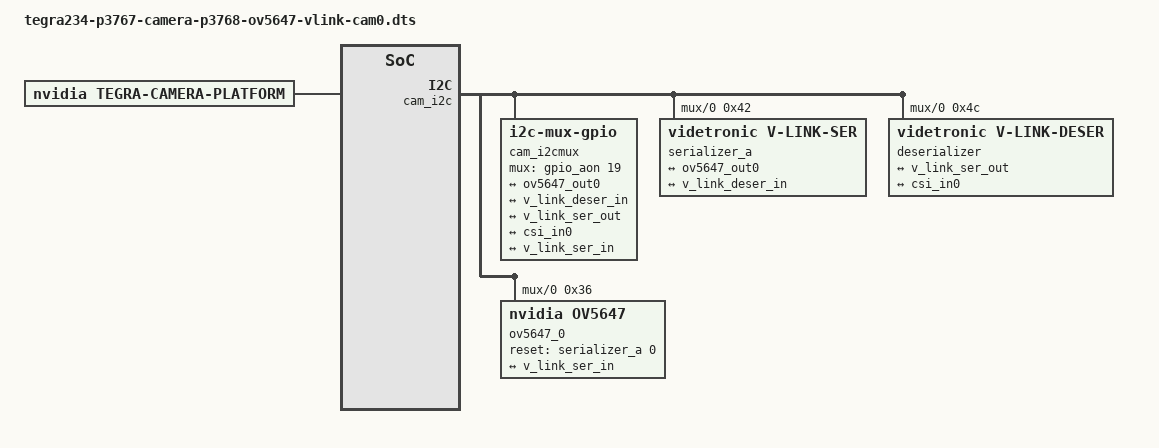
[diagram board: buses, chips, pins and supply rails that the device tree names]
/dts-v1/;
/plugin/;

/*
 * OV5647 (Raspberry Pi Camera v1.3) over Videtronic V-Link, Jetson Orin Nano /
 * Orin NX devkit (P3768 carrier), CAM0 connector.
 *
 * Camera graph, I2C mux, serializer and deserializer nodes are the same as in
 * tegra234-p3767-camera-p3768-imx219-vlink-cam0.dts. The OV5647 sensor node and
 * its mode timings come from https://github.com/akandr/ov5647-jetson
 * (dt/orin/tegra234-p3767-ov5647-overlay.dts, GPL-2.0, Copyright (C) 2026
 * Artur Andrzejczak), whose "nvidia,ov5647" driver this overlay binds to.
 *
 * Differences from the direct-attach overlay:
 * - reset-gpios is the serializer's MFP0 (the camera enable line on the ribbon)
 *   instead of a Jetson GPIO. The driver drives it high to power the module.
 * - The Jetson receives CSI from the deserializer, not from the sensor. With the
 *   serializer between sensor and NVCSI, NVIDIA's capture code does not apply
 *   the mode's lane_polarity / cil_settletime / clock rate to NVCSI (it would
 *   read string properties from the nvcsi channel node instead), so the Jetson
 *   side behaves as with the IMX219 V-Link overlay and link-freq is kept at its
 *   800 MHz. The sensor feeds the serializer at most 437.5 Mbps per lane.
 *
 * Untested on hardware.
 */

/ {
	overlay-name = "Camera OV5647 (CAM0) over v-link";
	jetson-header-name = "Jetson 24pin CSI Connector";
	compatible = "nvidia,p3768-0000+p3767-0000\0nvidia,p3768-0000+p3767-0001\0nvidia,p3768-0000+p3767-0003\0nvidia,p3768-0000+p3767-0004\0nvidia,p3768-0000+p3767-0005\0nvidia,p3768-0000+p3767-0000-super\0nvidia,p3768-0000+p3767-0001-super\0nvidia,p3768-0000+p3767-0003-super\0nvidia,p3768-0000+p3767-0004-super\0nvidia,p3768-0000+p3767-0005-super";
	
	fragment@0 {
		target-path = "/";
		__overlay__ {
			tegra-capture-vi {
				num-channels = <1>;
				ports {
					#address-cells = <1>;
					#size-cells = <0>;
					port@0 {
						reg = <0>;
						vi_in0: endpoint {
							port-index = <1>;
							bus-width = <2>;
							remote-endpoint = <&csi_out0>;
						};
					};
				};
			};
			tegra-camera-platform {
				compatible = "nvidia, tegra-camera-platform";
				/**
				* Physical settings to calculate max ISO BW
				*
				* num_csi_lanes = <>;
				* Total number of CSI lanes when all cameras are active
				*
				* max_lane_speed = <>;
				* Max lane speed in Kbit/s
				*
				* min_bits_per_pixel = <>;
				* Min bits per pixel
				*
				* vi_peak_byte_per_pixel = <>;
				* Max byte per pixel for the VI ISO case
				*
				* vi_bw_margin_pct = <>;
				* Vi bandwidth margin in percentage
				*
				* max_pixel_rate = <>;
				* Max pixel rate in Kpixel/s for the ISP ISO case
				* Set this to the highest pix_clk_hz out of all available modes.
				*
				* isp_peak_byte_per_pixel = <>;
				* Max byte per pixel for the ISP ISO case
				*
				* isp_bw_margin_pct = <>;
				* Isp bandwidth margin in percentage
				*/
				num_csi_lanes = <4>;
				max_lane_speed = <1500000>;
				min_bits_per_pixel = <10>;
				vi_peak_byte_per_pixel = <2>;
				vi_bw_margin_pct = <25>;
				max_pixel_rate = <7500000>;
				isp_peak_byte_per_pixel = <5>;
				isp_bw_margin_pct = <25>;
				
				modules {
					module0 {
						badge = "cam0_ov5647";
						position = "rear";
						orientation = "1";
						
						drivernode0 {
							pcl_id = "v4l2_sensor";
							sysfs-device-tree = "/sys/firmware/devicetree/base/bus@0/cam_i2cmux/i2c@0/ov5647_0@36";
						};
					};
				};
			};
			bus@0 {
				host1x@13e00000 {
					nvcsi@15a00000 {
						num-channels = <1>;
						#address-cells = <1>;
						#size-cells = <0>;
						channel@0 {
							reg = <0>;
							ports {
								#address-cells = <1>;
								#size-cells = <0>;
								port@0 {
									reg = <0>;
									csi_in0: endpoint@0 {
										port-index = <1>;
										bus-width = <2>;
										remote-endpoint = <&v_link_deser_out>;
									};
								};
								
								port@1 {
									reg = <1>;
									csi_out0: endpoint@1 {
										remote-endpoint = <&vi_in0>;
									};
								};
							};
						};
					};
				};
				cam_i2cmux {
					status = "okay";
					compatible = "i2c-mux-gpio";
					#address-cells = <1>;
					#size-cells = <0>;
					mux-gpios = <&gpio_aon 19 0>;//TEGRA234_AON_GPIO(CC, 3)
					i2c-parent = <&cam_i2c>;
					i2c@0 {
						status = "okay";
						reg = <0>;
						#address-cells = <1>;
						#size-cells = <0>;
						
						serializer_a: serializer@42 {
							status = "okay";
							compatible = "videtronic,v-link-ser";
							reg = <0x42>;
							gpio-controller;
							#gpio-cells = <2>;
							bus-width = <2>;
							
							ports {
								#address-cells = <1>;
								#size-cells = <0>;
								port@0 {
									reg = <0>;
									status = "okay";
									v_link_ser_in: endpoint@0 {
										status = "okay";
										port-index = <0>;
										bus-width = <2>;
										remote-endpoint = <&ov5647_out0>;
									};
								};
								port@1 {
									reg = <1>;
									status = "okay";
									v_link_ser_out: endpoint@1 {
										status = "okay";
										port-index = <1>;
										remote-endpoint = <&v_link_deser_in>;
									};
								};
							};
						};
						
						deserializer: deserializer@4c {
							status = "okay";
							compatible = "videtronic,v-link-deser";
							reg = <0x4c>;
							bus-width = <2>;
							link-freq = "800000000";
							ports {
								#address-cells = <1>;
								#size-cells = <0>;
								port@0 {
									reg = <0>;
									status = "okay";
									v_link_deser_in: endpoint@0 {
										status = "okay";
										port-index = <0>;
										remote-endpoint = <&v_link_ser_out>;
									};
								};
								port@1 {
									reg = <1>;
									status = "okay";
									v_link_deser_out: endpoint@1 {
										status = "okay";
										port-index = <1>;
										bus-width = <2>;
										remote-endpoint = <&csi_in0>;
									};
								};
							};
						};
						
						ov5647_0@36 {
							status = "okay";
							
							compatible = "nvidia,ov5647";
							/* I2C device address */
							reg = <0x36>;
							
							/* V4L2 device node location */
							devnode = "video0";
							
							/* Physical dimensions of sensor: 2592 x 1944 at 1.4 um */
							physical_w = "3.629";
							physical_h = "2.722";
							sensor_model = "ov5647";
							
							use_sensor_mode_id = "true";
							
							/* Module enable (ribbon PWDN line), driven high by the driver */
							reset-gpios = <&serializer_a 0 0>;
							
							mode0 { /* OV5647_MODE_2592x1944_15FPS */
								mclk_khz = "25000";
								num_lanes = "2";
								tegra_sinterface = "serial_b";
								lane_polarity = "6";
								phy_mode = "DPHY";
								discontinuous_clk = "yes";
								dpcm_enable = "false";
								cil_settletime = "0";
								active_w = "2592";
								active_h = "1944";
								mode_type = "bayer";
								pixel_phase = "bggr";
								csi_pixel_bit_depth = "10";
								readout_orientation = "0";
								line_length = "2844";
								inherent_gain = "1";
								mclk_multiplier = "3.50";
								pix_clk_hz = "87500000";
								gain_factor = "16";
								framerate_factor = "1000000";
								exposure_factor = "1000000";
								min_gain_val = "16";
								max_gain_val = "1023";
								step_gain_val = "1";
								default_gain = "16";
								min_hdr_ratio = "1";
								max_hdr_ratio = "1";
								min_framerate = "2000000";
								max_framerate = "15000000";
								step_framerate = "1";
								default_framerate = "15000000";
								min_exp_time = "131";
								max_exp_time = "500000";
								step_exp_time = "1";
								default_exp_time = "16666";
								embedded_metadata_height = "0";
							};
							mode1 { /* OV5647_MODE_1920x1080_30FPS */
								mclk_khz = "25000";
								num_lanes = "2";
								tegra_sinterface = "serial_b";
								lane_polarity = "6";
								phy_mode = "DPHY";
								discontinuous_clk = "yes";
								dpcm_enable = "false";
								cil_settletime = "0";
								active_w = "1920";
								active_h = "1080";
								mode_type = "bayer";
								pixel_phase = "bggr";
								csi_pixel_bit_depth = "10";
								readout_orientation = "0";
								line_length = "2416";
								inherent_gain = "1";
								mclk_multiplier = "3.50";
								pix_clk_hz = "87500000";
								gain_factor = "16";
								framerate_factor = "1000000";
								exposure_factor = "1000000";
								min_gain_val = "16";
								max_gain_val = "1023";
								step_gain_val = "1";
								default_gain = "16";
								min_hdr_ratio = "1";
								max_hdr_ratio = "1";
								min_framerate = "2000000";
								max_framerate = "32800000";
								step_framerate = "1";
								default_framerate = "30000000";
								min_exp_time = "111";
								max_exp_time = "500000";
								step_exp_time = "1";
								default_exp_time = "16666";
								embedded_metadata_height = "0";
							};
							mode2 { /* OV5647_MODE_1296x972_30FPS */
								mclk_khz = "25000";
								num_lanes = "2";
								tegra_sinterface = "serial_b";
								lane_polarity = "6";
								phy_mode = "DPHY";
								discontinuous_clk = "yes";
								dpcm_enable = "false";
								cil_settletime = "0";
								active_w = "1296";
								active_h = "972";
								mode_type = "bayer";
								pixel_phase = "bggr";
								csi_pixel_bit_depth = "10";
								readout_orientation = "0";
								line_length = "1896";
								inherent_gain = "1";
								mclk_multiplier = "3.50";
								pix_clk_hz = "87500000";
								gain_factor = "16";
								framerate_factor = "1000000";
								exposure_factor = "1000000";
								min_gain_val = "16";
								max_gain_val = "1023";
								step_gain_val = "1";
								default_gain = "16";
								min_hdr_ratio = "1";
								max_hdr_ratio = "1";
								min_framerate = "2000000";
								max_framerate = "32160000";
								step_framerate = "1";
								default_framerate = "30000000";
								min_exp_time = "87";
								max_exp_time = "500000";
								step_exp_time = "1";
								default_exp_time = "16666";
								embedded_metadata_height = "0";
							};
							mode3 { /* OV5647_MODE_640x480_62FPS */
								mclk_khz = "25000";
								num_lanes = "2";
								tegra_sinterface = "serial_b";
								lane_polarity = "6";
								phy_mode = "DPHY";
								discontinuous_clk = "yes";
								dpcm_enable = "false";
								cil_settletime = "0";
								active_w = "640";
								active_h = "480";
								mode_type = "bayer";
								pixel_phase = "bggr";
								csi_pixel_bit_depth = "10";
								readout_orientation = "0";
								line_length = "1852";
								inherent_gain = "1";
								mclk_multiplier = "2.33";
								pix_clk_hz = "58333300";
								gain_factor = "16";
								framerate_factor = "1000000";
								exposure_factor = "1000000";
								min_gain_val = "16";
								max_gain_val = "1023";
								step_gain_val = "1";
								default_gain = "16";
								min_hdr_ratio = "1";
								max_hdr_ratio = "1";
								min_framerate = "2000000";
								max_framerate = "62000000";
								step_framerate = "1";
								default_framerate = "62000000";
								min_exp_time = "127";
								max_exp_time = "500000";
								step_exp_time = "1";
								default_exp_time = "16666";
								embedded_metadata_height = "0";
							};
							mode4 { /* OV5647_MODE_1280x720_60FPS */
								mclk_khz = "25000";
								num_lanes = "2";
								tegra_sinterface = "serial_b";
								lane_polarity = "6";
								phy_mode = "DPHY";
								discontinuous_clk = "yes";
								dpcm_enable = "false";
								cil_settletime = "0";
								active_w = "1280";
								active_h = "720";
								mode_type = "bayer";
								pixel_phase = "bggr";
								csi_pixel_bit_depth = "10";
								readout_orientation = "0";
								line_length = "1896";
								inherent_gain = "1";
								mclk_multiplier = "3.50";
								pix_clk_hz = "87500000";
								gain_factor = "16";
								framerate_factor = "1000000";
								exposure_factor = "1000000";
								min_gain_val = "16";
								max_gain_val = "1023";
								step_gain_val = "1";
								default_gain = "16";
								min_hdr_ratio = "1";
								max_hdr_ratio = "1";
								min_framerate = "2000000";
								max_framerate = "60000000";
								step_framerate = "1";
								default_framerate = "60000000";
								min_exp_time = "87";
								max_exp_time = "500000";
								step_exp_time = "1";
								default_exp_time = "16666";
								embedded_metadata_height = "0";
							};
							
							ports {
								#address-cells = <1>;
								#size-cells = <0>;
								port@0 {
									reg = <0>;
									ov5647_out0: endpoint {
										port-index = <1>;
										bus-width = <2>;
										remote-endpoint = <&v_link_ser_in>;
									};
								};
							};
						};
					};
				};
			};
		};
	};
};
